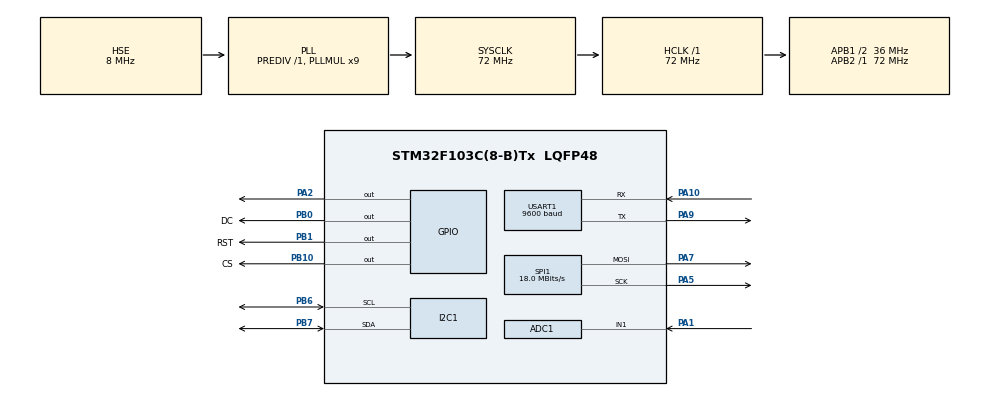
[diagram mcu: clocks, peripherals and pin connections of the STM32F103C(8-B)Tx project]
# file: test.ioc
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ADC1.Channel-0\#ChannelRegularConversion=ADC_CHANNEL_1
ADC1.ContinuousConvMode=ENABLE
ADC1.NbrOfConversionFlag=1
ADC1.Rank-0\#ChannelRegularConversion=1
ADC1.SamplingTime-0\#ChannelRegularConversion=ADC_SAMPLETIME_239CYCLES_5
ADC1.master=1
Dma.ADC1.1.Direction=DMA_PERIPH_TO_MEMORY
Dma.ADC1.1.Instance=DMA1_Channel1
Dma.ADC1.1.MemDataAlignment=DMA_MDATAALIGN_HALFWORD
Dma.ADC1.1.MemInc=DMA_MINC_ENABLE
Dma.ADC1.1.Mode=DMA_CIRCULAR
Dma.ADC1.1.PeriphDataAlignment=DMA_PDATAALIGN_HALFWORD
Dma.ADC1.1.PeriphInc=DMA_PINC_DISABLE
Dma.ADC1.1.Priority=DMA_PRIORITY_LOW
Dma.Request0=SPI1_TX
Dma.Request1=ADC1
Dma.SPI1_TX.0.Direction=DMA_MEMORY_TO_PERIPH
Dma.SPI1_TX.0.Instance=DMA1_Channel3
Dma.SPI1_TX.0.MemDataAlignment=DMA_MDATAALIGN_BYTE
Dma.SPI1_TX.0.MemInc=DMA_MINC_ENABLE
Dma.SPI1_TX.0.Mode=DMA_NORMAL
Dma.SPI1_TX.0.PeriphDataAlignment=DMA_PDATAALIGN_BYTE
Dma.SPI1_TX.0.PeriphInc=DMA_PINC_DISABLE
Dma.SPI1_TX.0.Priority=DMA_PRIORITY_LOW
Mcu.Family=STM32F1
Mcu.Name=STM32F103C(8-B)Tx
Mcu.Package=LQFP48
NVIC.DMA1_Channel1_IRQn=true\:0\:0\:false\:false\:true\:false\:true\:true
NVIC.DMA1_Channel3_IRQn=true\:0\:0\:false\:false\:true\:false\:true\:true
NVIC.PriorityGroup=NVIC_PRIORITYGROUP_4
PA0-WKUP.Mode=SYS_WakeUp0
PA0-WKUP.Signal=SYS_WKUP
PA1.Signal=ADCx_IN1
PA10.Mode=Asynchronous
PA10.Signal=USART1_RX
PA13.Mode=Serial_Wire
PA13.Signal=SYS_JTMS-SWDIO
PA14.Mode=Serial_Wire
PA14.Signal=SYS_JTCK-SWCLK
PA2.Signal=GPIO_Output
PA5.Mode=TX_Only_Simplex_Unidirect_Master
PA5.Signal=SPI1_SCK
PA7.Mode=TX_Only_Simplex_Unidirect_Master
PA7.Signal=SPI1_MOSI
PA9.Mode=Asynchronous
PA9.Signal=USART1_TX
PB0.GPIO_Label=DC
PB0.Signal=GPIO_Output
PB1.GPIO_Label=RST
PB1.Signal=GPIO_Output
PB10.GPIO_Label=CS
PB10.Signal=GPIO_Output
PB6.Mode=I2C
PB6.Signal=I2C1_SCL
PB7.Mode=I2C
PB7.Signal=I2C1_SDA
PD0-OSC_IN.Mode=HSE-External-Oscillator
PD0-OSC_IN.Signal=RCC_OSC_IN
PD1-OSC_OUT.Mode=HSE-External-Oscillator
PD1-OSC_OUT.Signal=RCC_OSC_OUT
ProjectManager.HeapSize=0x200
ProjectManager.StackSize=0x400
ProjectManager.TargetToolchain=CMake
RCC.ADCPresc=RCC_ADCPCLK2_DIV8
RCC.AHBFreq_Value=72000000
RCC.APB1CLKDivider=RCC_HCLK_DIV2
RCC.APB1Freq_Value=36000000
RCC.APB1TimFreq_Value=72000000
RCC.APB2Freq_Value=72000000
RCC.APB2TimFreq_Value=72000000
RCC.HCLKFreq_Value=72000000
RCC.PLLMUL=RCC_PLL_MUL9
RCC.PLLSourceVirtual=RCC_PLLSOURCE_HSE
RCC.SYSCLKFreq_VALUE=72000000
RCC.SYSCLKSource=RCC_SYSCLKSOURCE_PLLCLK
RCC.USBFreq_Value=72000000
SH.ADCx_IN1.0=ADC1_IN1,IN1
SPI1.BaudRatePrescaler=SPI_BAUDRATEPRESCALER_4
SPI1.CalculateBaudRate=18.0 MBits/s
SPI1.Direction=SPI_DIRECTION_2LINES
SPI1.Mode=SPI_MODE_MASTER
SPI1.VirtualType=VM_MASTER
TIM2.Prescaler=71
USART1.BaudRate=9600
USART1.VirtualMode=VM_ASYNC
VP_TIM2_VS_ClockSourceINT.Mode=Internal
board=custom

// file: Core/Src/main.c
/* USER CODE BEGIN Header */

/* USER CODE END Header */
#include "main.h"

/* USER CODE BEGIN Includes */
#include "fonts.h"
#include "stm32f1xx_hal.h"
#include "string.h"
#include "ILI9341_GFX.h"
#include "ILI9341_STM32_Driver.h"
#include "stdio.h"
#include "DS1307.h"
#include "max30102.h"
#include "hr_spo2_header.h"
#include "DHT11.h"
/* USER CODE END Includes */

ADC_HandleTypeDef hadc1;
DMA_HandleTypeDef hdma_adc1;

I2C_HandleTypeDef hi2c1;

SPI_HandleTypeDef hspi1;
DMA_HandleTypeDef hdma_spi1_tx;

TIM_HandleTypeDef htim2;

UART_HandleTypeDef huart1;

void SystemClock_Config(void);
static void MX_GPIO_Init(void);
static void MX_DMA_Init(void);
static void MX_TIM2_Init(void);
static void MX_SPI1_Init(void);
static void MX_I2C1_Init(void);
static void MX_ADC1_Init(void);
static void MX_USART1_UART_Init(void);

/* USER CODE BEGIN 0 */

void delay_us(uint16_t us)
{
  __HAL_TIM_SET_COUNTER(&htim2, 0);
  while(__HAL_TIM_GET_COUNTER(&htim2) < us);
}

/* USER CODE END 0 */

int main(void)
{

  /* MCU Configuration--------------------------------------------------------*/

  /* Reset of all peripherals, Initializes the Flash interface and the Systick. */
  HAL_Init();

  /* Configure the system clock */
  SystemClock_Config();

  /* Initialize all configured peripherals */
  MX_GPIO_Init();
  MX_DMA_Init();
  MX_TIM2_Init();
  MX_SPI1_Init();
  MX_I2C1_Init();
  MX_ADC1_Init();
  MX_USART1_UART_Init();
  /* USER CODE BEGIN 2 */

  HAL_TIM_Base_Start(&htim2);

  DS1307_RTC time;

  time.sec = 0;
  time.min = 40;
  time.hour = 10;
  time.date = 24;
  time.month = 11;
  time.year = 25;

  uint32_t ir_val,red_val;
	uint16_t sample_count = 0;
	int32_t heart_rate, spo2;
  DS1307_Write(&time);

  DS1307_Start();

  ILI9341_Init();
  ILI9341_SetRotation(SCREEN_VERTICAL_2);
  ILI9341_FillScreen(BLACK);
  maxim_max30102_init();

  ILI9341_DrawHLine(0, 35, 320, CYAN);

  ILI9341_DrawText("Temp:", Arial_Narrow8x12, 10, 60, YELLOW, BLACK);
  ILI9341_DrawText("humidity:", Arial_Narrow8x12, 10, 100, YELLOW, BLACK);
  ILI9341_DrawText("HR:", Arial_Narrow8x12, 115, 60, YELLOW, BLACK);
  ILI9341_DrawText("SPO2:", Arial_Narrow8x12, 115, 100, YELLOW, BLACK);
  ILI9341_DrawText("VAL_ADC:", Arial_Narrow10x13, 10, 220, YELLOW, BLACK);
  ILI9341_DrawText("UV_INDEX:", Arial_Narrow10x13, 10, 260, YELLOW, BLACK);

  // Vẽ khung
  ILI9341_DrawHollowRectangleCoord(5, 50, 100, 120, CYAN);
  ILI9341_DrawHollowRectangleCoord(110,50,235,120,CYAN);
  ILI9341_DrawHollowRectangleCoord(5, 130, 235, 200, CYAN);
  ILI9341_DrawHollowRectangleCoord(5,210,235,315,CYAN);
  char DHT11_TEMP[10];
  char DHT11_HUM[10];

  char DS1307[10];

  char HR[10];
  char SPO2[10];

  char VAL_ADC[10];
  char UV_INDEX[10];

  char status_uv[30];
  volatile uint16_t adc_data = 0;
  float vol = 0;
  int UV_index = 0;

  char hc05_data[50];

  HAL_ADCEx_Calibration_Start(&hadc1);
	HAL_ADC_Start_DMA(&hadc1,(uint32_t*)&adc_data,1);

  uint32_t DHT11_RTC_update = 0;
  uint32_t max30102_update = 0;
  uint32_t UV_S12D_update = 0;
  uint32_t HC05_update =0;
  /* USER CODE END 2 */

  /* Infinite loop */
  while (1)
  {

    /* USER CODE BEGIN 3 */

    if(HAL_GetTick() - DHT11_RTC_update >= 100)
    {
      DHT11_RTC_update = HAL_GetTick();

      DHT11_ReadData();
      HAL_Delay(5);
      DS1307_Read(&time);

      sprintf(DHT11_TEMP, "%d.%d C", DHT11_Temperature_Int, DHT11_Temperature_Dec);
      ILI9341_DrawText(DHT11_TEMP, Arial_Narrow8x12, 45, 60, GREEN, BLACK);

      sprintf(DHT11_HUM, "%d.%d %%", DHT11_Humidity_Int, DHT11_Humidity_Dec);
      ILI9341_DrawText(DHT11_HUM, Arial_Narrow8x12, 60, 100, GREEN, BLACK);

      sprintf(DS1307, "D:%d / M:%d / Y:%d | %d: %d: %d ",time.date,time.month,time.year,time.hour,time.min,time.sec);

      ILI9341_DrawText(DS1307, Arial_Narrow10x13, 20, 10, WHITE, BLACK);
    }

  if(HAL_GetTick() - max30102_update >= 30)
  {
    max30102_update = HAL_GetTick();

    maxim_max30102_read_fifo(&red_val, &ir_val);

    if (ir_val < 10000)
    {

        sample_count = 0;
        reset_buffer();
        heart_rate = 0;
        spo2 = 0;

        sprintf(HR, "---     ");
        ILI9341_DrawText(HR, Arial_Narrow8x12, 140, 60, RED, BLACK);
        sprintf(SPO2, "---     ");
        ILI9341_DrawText(SPO2, Arial_Narrow8x12, 160, 100, RED, BLACK);
    }
    else
    {

        add_sample(ir_val, red_val);
        sample_count++;

        if (sample_count >= 50)
        {
            calculate_heart_rate_spo2();
            heart_rate = get_heart_rate();
            spo2 = get_spo2();

            if (heart_rate < 0) heart_rate = 0;
            if (spo2 < 0) spo2 = 0;

            sample_count = 0;  // Reset về 0
        }

        if (heart_rate == 0 && spo2 == 0)
        {

            sprintf(HR, "Wait   ");
            ILI9341_DrawText(HR, Arial_Narrow8x12, 140, 60, YELLOW, BLACK);
            sprintf(SPO2, "Wait  ");
            ILI9341_DrawText(SPO2, Arial_Narrow8x12, 160, 100, YELLOW, BLACK);
        }
        else
        {
            sprintf(HR, "%3d bpm ", heart_rate);
            ILI9341_DrawText(HR, Arial_Narrow8x12, 140, 60, GREEN, BLACK);
            sprintf(SPO2, "%3d %%  ", spo2);
            ILI9341_DrawText(SPO2, Arial_Narrow8x12, 160, 100, GREEN, BLACK);
        }
    }
  }
    if(HAL_GetTick() - UV_S12D_update >= 100)
    {
        UV_S12D_update = HAL_GetTick();
        vol = (adc_data *3.3)/4095.0;
        UV_index = vol * 10.0;
        sprintf(VAL_ADC,"%d ",adc_data);
        ILI9341_DrawText(VAL_ADC, Arial_Narrow10x13, 90, 220, GREEN, BLACK);
        sprintf(UV_INDEX,"%d ",UV_index);
        ILI9341_DrawText(UV_INDEX, Arial_Narrow10x13, 90, 260, GREEN, BLACK);
        if(UV_index >= 6)
        {
          sprintf(status_uv,"not safe for skin");
          ILI9341_DrawText(status_uv, Arial_Narrow10x13, 130, 240, RED, BLACK);
        }
        else
        {
          sprintf(status_uv,"safe for skin");
          ILI9341_DrawText(status_uv, Arial_Narrow10x13, 130, 240, GREEN, BLACK);
        }
    }
    if(HAL_GetTick() - HC05_update >=1000)
    {
      HC05_update = HAL_GetTick();
      sprintf(hc05_data,"%d|%d|%d|%d|%d\n",DHT11_Temperature_Int,DHT11_Humidity_Int,heart_rate,spo2,UV_index);
      HAL_UART_Transmit(&huart1, (uint8_t*)hc05_data, strlen(hc05_data), 100);
    }
  }
  /* USER CODE END 3 */
}

void SystemClock_Config(void)
{
  RCC_OscInitTypeDef RCC_OscInitStruct = {0};
  RCC_ClkInitTypeDef RCC_ClkInitStruct = {0};
  RCC_PeriphCLKInitTypeDef PeriphClkInit = {0};

  /** Initializes the RCC Oscillators according to the specified parameters
  * in the RCC_OscInitTypeDef structure.
  */
  RCC_OscInitStruct.OscillatorType = RCC_OSCILLATORTYPE_HSE;
  RCC_OscInitStruct.HSEState = RCC_HSE_ON;
  RCC_OscInitStruct.HSEPredivValue = RCC_HSE_PREDIV_DIV1;
  RCC_OscInitStruct.HSIState = RCC_HSI_ON;
  RCC_OscInitStruct.PLL.PLLState = RCC_PLL_ON;
  RCC_OscInitStruct.PLL.PLLSource = RCC_PLLSOURCE_HSE;
  RCC_OscInitStruct.PLL.PLLMUL = RCC_PLL_MUL9;
  if (HAL_RCC_OscConfig(&RCC_OscInitStruct) != HAL_OK)
  {
    Error_Handler();
  }

  /** Initializes the CPU, AHB and APB buses clocks
  */
  RCC_ClkInitStruct.ClockType = RCC_CLOCKTYPE_HCLK|RCC_CLOCKTYPE_SYSCLK
                              |RCC_CLOCKTYPE_PCLK1|RCC_CLOCKTYPE_PCLK2;
  RCC_ClkInitStruct.SYSCLKSource = RCC_SYSCLKSOURCE_PLLCLK;
  RCC_ClkInitStruct.AHBCLKDivider = RCC_SYSCLK_DIV1;
  RCC_ClkInitStruct.APB1CLKDivider = RCC_HCLK_DIV2;
  RCC_ClkInitStruct.APB2CLKDivider = RCC_HCLK_DIV1;

  if (HAL_RCC_ClockConfig(&RCC_ClkInitStruct, FLASH_LATENCY_2) != HAL_OK)
  {
    Error_Handler();
  }
  PeriphClkInit.PeriphClockSelection = RCC_PERIPHCLK_ADC;
  PeriphClkInit.AdcClockSelection = RCC_ADCPCLK2_DIV8;
  if (HAL_RCCEx_PeriphCLKConfig(&PeriphClkInit) != HAL_OK)
  {
    Error_Handler();
  }
}

static void MX_ADC1_Init(void)
{

  ADC_ChannelConfTypeDef sConfig = {0};

  /** Common config
  */
  hadc1.Instance = ADC1;
  hadc1.Init.ScanConvMode = ADC_SCAN_DISABLE;
  hadc1.Init.ContinuousConvMode = ENABLE;
  hadc1.Init.DiscontinuousConvMode = DISABLE;
  hadc1.Init.ExternalTrigConv = ADC_SOFTWARE_START;
  hadc1.Init.DataAlign = ADC_DATAALIGN_RIGHT;
  hadc1.Init.NbrOfConversion = 1;
  if (HAL_ADC_Init(&hadc1) != HAL_OK)
  {
    Error_Handler();
  }

  /** Configure Regular Channel
  */
  sConfig.Channel = ADC_CHANNEL_1;
  sConfig.Rank = ADC_REGULAR_RANK_1;
  sConfig.SamplingTime = ADC_SAMPLETIME_239CYCLES_5;
  if (HAL_ADC_ConfigChannel(&hadc1, &sConfig) != HAL_OK)
  {
    Error_Handler();
  }

}

static void MX_I2C1_Init(void)
{

  hi2c1.Instance = I2C1;
  hi2c1.Init.ClockSpeed = 100000;
  hi2c1.Init.DutyCycle = I2C_DUTYCYCLE_2;
  hi2c1.Init.OwnAddress1 = 0;
  hi2c1.Init.AddressingMode = I2C_ADDRESSINGMODE_7BIT;
  hi2c1.Init.DualAddressMode = I2C_DUALADDRESS_DISABLE;
  hi2c1.Init.OwnAddress2 = 0;
  hi2c1.Init.GeneralCallMode = I2C_GENERALCALL_DISABLE;
  hi2c1.Init.NoStretchMode = I2C_NOSTRETCH_DISABLE;
  if (HAL_I2C_Init(&hi2c1) != HAL_OK)
  {
    Error_Handler();
  }

}

static void MX_SPI1_Init(void)
{

  /* SPI1 parameter configuration*/
  hspi1.Instance = SPI1;
  hspi1.Init.Mode = SPI_MODE_MASTER;
  hspi1.Init.Direction = SPI_DIRECTION_2LINES;
  hspi1.Init.DataSize = SPI_DATASIZE_8BIT;
  hspi1.Init.CLKPolarity = SPI_POLARITY_LOW;
  hspi1.Init.CLKPhase = SPI_PHASE_1EDGE;
  hspi1.Init.NSS = SPI_NSS_SOFT;
  hspi1.Init.BaudRatePrescaler = SPI_BAUDRATEPRESCALER_4;
  hspi1.Init.FirstBit = SPI_FIRSTBIT_MSB;
  hspi1.Init.TIMode = SPI_TIMODE_DISABLE;
  hspi1.Init.CRCCalculation = SPI_CRCCALCULATION_DISABLE;
  hspi1.Init.CRCPolynomial = 10;
  if (HAL_SPI_Init(&hspi1) != HAL_OK)
  {
    Error_Handler();
  }

}

static void MX_TIM2_Init(void)
{

  TIM_ClockConfigTypeDef sClockSourceConfig = {0};
  TIM_MasterConfigTypeDef sMasterConfig = {0};

  htim2.Instance = TIM2;
  htim2.Init.Prescaler = 71;
  htim2.Init.CounterMode = TIM_COUNTERMODE_UP;
  htim2.Init.Period = 65535;
  htim2.Init.ClockDivision = TIM_CLOCKDIVISION_DIV1;
  htim2.Init.AutoReloadPreload = TIM_AUTORELOAD_PRELOAD_DISABLE;
  if (HAL_TIM_Base_Init(&htim2) != HAL_OK)
  {
    Error_Handler();
  }
  sClockSourceConfig.ClockSource = TIM_CLOCKSOURCE_INTERNAL;
  if (HAL_TIM_ConfigClockSource(&htim2, &sClockSourceConfig) != HAL_OK)
  {
    Error_Handler();
  }
  sMasterConfig.MasterOutputTrigger = TIM_TRGO_RESET;
  sMasterConfig.MasterSlaveMode = TIM_MASTERSLAVEMODE_DISABLE;
  if (HAL_TIMEx_MasterConfigSynchronization(&htim2, &sMasterConfig) != HAL_OK)
  {
    Error_Handler();
  }

}

static void MX_USART1_UART_Init(void)
{

  huart1.Instance = USART1;
  huart1.Init.BaudRate = 9600;
  huart1.Init.WordLength = UART_WORDLENGTH_8B;
  huart1.Init.StopBits = UART_STOPBITS_1;
  huart1.Init.Parity = UART_PARITY_NONE;
  huart1.Init.Mode = UART_MODE_TX_RX;
  huart1.Init.HwFlowCtl = UART_HWCONTROL_NONE;
  huart1.Init.OverSampling = UART_OVERSAMPLING_16;
  if (HAL_UART_Init(&huart1) != HAL_OK)
  {
    Error_Handler();
  }

}

static void MX_DMA_Init(void)
{

  /* DMA controller clock enable */
  __HAL_RCC_DMA1_CLK_ENABLE();

  /* DMA interrupt init */
  /* DMA1_Channel1_IRQn interrupt configuration */
  HAL_NVIC_SetPriority(DMA1_Channel1_IRQn, 0, 0);
  HAL_NVIC_EnableIRQ(DMA1_Channel1_IRQn);
  /* DMA1_Channel3_IRQn interrupt configuration */
  HAL_NVIC_SetPriority(DMA1_Channel3_IRQn, 0, 0);
  HAL_NVIC_EnableIRQ(DMA1_Channel3_IRQn);

}

static void MX_GPIO_Init(void)
{
  GPIO_InitTypeDef GPIO_InitStruct = {0};

  /* GPIO Ports Clock Enable */
  __HAL_RCC_GPIOD_CLK_ENABLE();
  __HAL_RCC_GPIOA_CLK_ENABLE();
  __HAL_RCC_GPIOB_CLK_ENABLE();

  /*Configure GPIO pin Output Level */
  HAL_GPIO_WritePin(GPIOA, GPIO_PIN_2, GPIO_PIN_RESET);

  /*Configure GPIO pin Output Level */
  HAL_GPIO_WritePin(GPIOB, DC_Pin|RST_Pin|CS_Pin, GPIO_PIN_RESET);

  /*Configure GPIO pin : PA2 */
  GPIO_InitStruct.Pin = GPIO_PIN_2;
  GPIO_InitStruct.Mode = GPIO_MODE_OUTPUT_PP;
  GPIO_InitStruct.Pull = GPIO_NOPULL;
  GPIO_InitStruct.Speed = GPIO_SPEED_FREQ_LOW;
  HAL_GPIO_Init(GPIOA, &GPIO_InitStruct);

  /*Configure GPIO pins : DC_Pin RST_Pin CS_Pin */
  GPIO_InitStruct.Pin = DC_Pin|RST_Pin|CS_Pin;
  GPIO_InitStruct.Mode = GPIO_MODE_OUTPUT_PP;
  GPIO_InitStruct.Pull = GPIO_NOPULL;
  GPIO_InitStruct.Speed = GPIO_SPEED_FREQ_LOW;
  HAL_GPIO_Init(GPIOB, &GPIO_InitStruct);

}

void Error_Handler(void)
{
  __disable_irq();
  while (1)
  {
  }
}
